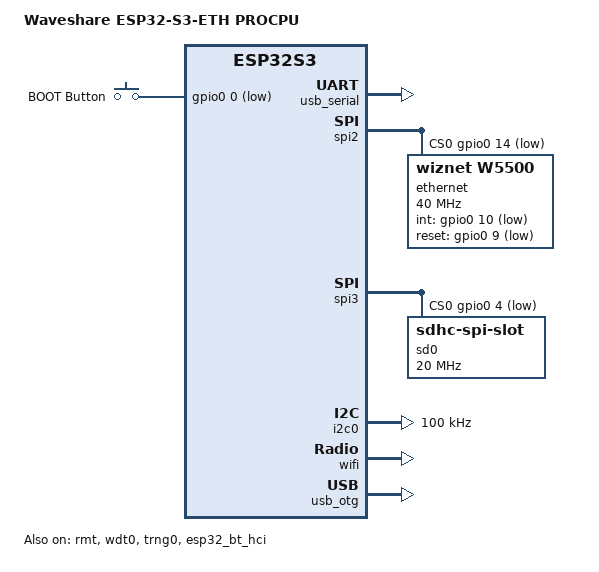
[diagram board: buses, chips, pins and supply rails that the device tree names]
/*
 * Copyright (c) 2026 Richard Osterloh <richard.osterloh@gmail.com>
 *
 * SPDX-License-Identifier: Apache-2.0
 *
 * Waveshare ESP32-S3-ETH: ESP32-S3-WROOM-1U-N16R8 (16MB flash, 8MB PSRAM)
 * with an onboard WIZnet W5500 10/100 Ethernet controller on SPI2.
 */
/dts-v1/;

#include <espressif/esp32s3/esp32s3.dtsi>
#include <espressif/partitions_0x0_amp_16M.dtsi>
#include <zephyr/dt-bindings/gpio/gpio.h>
#include <zephyr/dt-bindings/i2c/i2c.h>
#include <zephyr/dt-bindings/input/input-event-codes.h>
#include <zephyr/dt-bindings/led/led.h>
#include "waveshare_esp32_s3_eth-pinctrl.dtsi"

/ {
	model = "Waveshare ESP32-S3-ETH PROCPU";
	compatible = "espressif,esp32s3";

	aliases {
		watchdog0 = &wdt0;
		led-strip = &status_led;
		sw0 = &button0;
		sdhc0 = &sd0;
	};

	buttons {
		compatible = "gpio-keys";

		button0: button_0 {
			gpios = <&gpio0 0 (GPIO_PULL_UP | GPIO_ACTIVE_LOW)>;
			label = "BOOT Button";
			zephyr,code = <INPUT_KEY_0>;
		};
	};

	/* Single onboard WS2812B on GPIO21. It is an addressable LED, not a
	 * plain GPIO one, so it cannot be driven through the led-gpios/leds
	 * bindings -- it needs a 24-bit GRB frame at WS2812 timing, which the
	 * RMT peripheral generates via the vendor-neutral pulse_io API.
	 */
	status_led: ws2812 {
		compatible = "worldsemi,ws2812-pulse-io";
		pulse-ios = <&rmt 0>;
		chain-length = <1>;
		color-mapping = <LED_COLOR_ID_GREEN
				 LED_COLOR_ID_RED
				 LED_COLOR_ID_BLUE>;
		reset-delay = <300>;
	};

	chosen {
		zephyr,sram = &sram1;
		/* USB-C is the ESP32-S3 native USB-Serial/JTAG; UART0 (GPIO43/44)
		 * is not broken out to the port, so the console lives on USB. */
		zephyr,console = &usb_serial;
		zephyr,shell-uart = &usb_serial;
		zephyr,flash = &flash0;
		zephyr,code-partition = &slot0_partition;
		zephyr,bt-hci = &esp32_bt_hci;
	};
};

/* ESP32-S3-WROOM-1U-N16R8: 16MB quad flash, 8MB octal PSRAM. The SoC dtsi no
 * longer carries per-module sizes, so the board states its own.
 */
&flash0 {
	reg = <0x0 DT_SIZE_M(16)>;
	ranges = <0x0 0x0 DT_SIZE_M(16)>;
};

&psram0 {
	size = <DT_SIZE_M(8)>;
};

&usb_serial {
	status = "okay";
};

&gpio0 {
	status = "okay";
};

&gpio1 {
	status = "okay";
};

&spi2 {
	#address-cells = <1>;
	#size-cells = <0>;
	status = "okay";
	pinctrl-0 = <&spim2_w5500>;
	pinctrl-names = "default";
	cs-gpios = <&gpio0 14 GPIO_ACTIVE_LOW>;

	ethernet: w5500@0 {
		compatible = "wiznet,w5500";
		reg = <0x0>;
		spi-max-frequency = <40000000>;
		int-gpios = <&gpio0 10 GPIO_ACTIVE_LOW>;
		reset-gpios = <&gpio0 9 GPIO_ACTIVE_LOW>;
		/* W5500 has no MAC EEPROM; assign a locally-administered address. */
		local-mac-address = [02 00 00 00 02 03];
		status = "okay";
	};
};

/* Onboard microSD/TF slot, wired in SPI mode. */
&spi3 {
	#address-cells = <1>;
	#size-cells = <0>;
	status = "okay";
	pinctrl-0 = <&spim3_tf>;
	pinctrl-names = "default";
	cs-gpios = <&gpio0 4 GPIO_ACTIVE_LOW>;

	sd0: sd@0 {
		compatible = "zephyr,sdhc-spi-slot";
		reg = <0x0>;
		status = "okay";
		/* Cards negotiate up from 400kHz; 20MHz is the usual safe
		 * ceiling for an SPI-mode slot with no length-matched traces.
		 */
		spi-max-frequency = <20000000>;

		mmc {
			compatible = "zephyr,sdmmc-disk";
			disk-name = "SD";
			status = "okay";
		};
	};
};

&i2c0 {
	status = "okay";
	clock-frequency = <I2C_BITRATE_STANDARD>;
	pinctrl-0 = <&i2c0_default>;
	pinctrl-names = "default";
};

&rmt {
	pinctrl-0 = <&rmt_ws2812>;
	pinctrl-names = "default";
	status = "okay";
};

&wdt0 {
	status = "okay";
};

&trng0 {
	status = "okay";
};

&esp32_bt_hci {
	status = "okay";
};

&wifi {
	status = "okay";
};

zephyr_udc0: &usb_otg {
	status = "okay";
};
